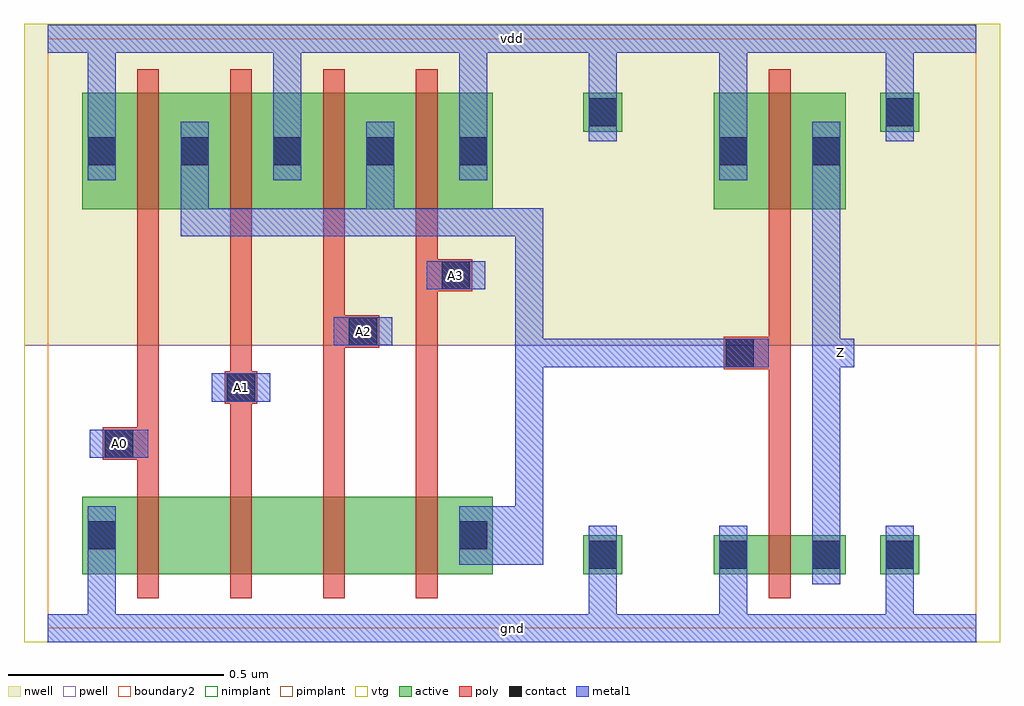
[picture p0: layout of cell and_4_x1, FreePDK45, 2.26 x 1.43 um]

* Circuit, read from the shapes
.subckt and_4_x1 A0 A1 A2 A3 Z gnd vdd
M1 sram_1rw0r0w_8_256_freepdk45_pnand4_0/sram_1rw0r0w_8_256_freepdk45_nmos_m1_w0_180_sm1_dactive_4/A3 A0 gnd gnd nfet w=0.18u l=0.05u
M2 sram_1rw0r0w_8_256_freepdk45_pnand4_0/sram_1rw0r0w_8_256_freepdk45_nmos_m1_w0_180_sactive_dactive_5/A3 A1 sram_1rw0r0w_8_256_freepdk45_pnand4_0/sram_1rw0r0w_8_256_freepdk45_nmos_m1_w0_180_sm1_dactive_4/A3 gnd nfet w=0.18u l=0.05u
M3 sram_1rw0r0w_8_256_freepdk45_pnand4_0/sram_1rw0r0w_8_256_freepdk45_nmos_m1_w0_180_sactive_dactive_6/A3 A2 sram_1rw0r0w_8_256_freepdk45_pnand4_0/sram_1rw0r0w_8_256_freepdk45_nmos_m1_w0_180_sactive_dactive_5/A3 gnd nfet w=0.18u l=0.05u
M4 sram_1rw0r0w_8_256_freepdk45_pinv_1/A0 A3 sram_1rw0r0w_8_256_freepdk45_pnand4_0/sram_1rw0r0w_8_256_freepdk45_nmos_m1_w0_180_sactive_dactive_6/A3 gnd nfet w=0.18u l=0.05u
M5 Z sram_1rw0r0w_8_256_freepdk45_pinv_1/A0 gnd gnd nfet w=0.09u l=0.05u
M6 sram_1rw0r0w_8_256_freepdk45_pinv_1/A0 A0 vdd vdd pfet w=0.27u l=0.05u
M7 vdd A1 sram_1rw0r0w_8_256_freepdk45_pinv_1/A0 vdd pfet w=0.27u l=0.05u
M8 sram_1rw0r0w_8_256_freepdk45_pinv_1/A0 A2 vdd vdd pfet w=0.27u l=0.05u
M9 vdd A3 sram_1rw0r0w_8_256_freepdk45_pinv_1/A0 vdd pfet w=0.27u l=0.05u
M10 Z sram_1rw0r0w_8_256_freepdk45_pinv_1/A0 vdd vdd pfet w=0.27u l=0.05u
.ends

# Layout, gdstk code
import gdstk
lib = gdstk.Library(unit=1e-6, precision=5e-10)
def R(c, l, rs):  # rectangles x0, y0, x1, y1
    for r in rs: c.add(gdstk.rectangle(r[:2], r[2:], *l))
def A(c, l, x, y, w, h, nx, ny, dx, dy):  # array of equal rectangles
    R(c, l, [(x+i*dx, y+j*dy, x+i*dx+w, y+j*dy+h) for i in range(nx) for j in range(ny)])
active = (1, 0)
pwell = (2, 0)
nwell = (3, 0)
nimplant = (4, 0)
pimplant = (5, 0)
vtg = (6, 0)
poly = (9, 0)
contact = (10, 0)
metal1 = (11, 0)
boundary2 = (239, 0)

sram_1rw0r0w_8_256_freep = lib.new_cell('sram_1rw0r0w_8_256_freepdk45_contact_11')
R(sram_1rw0r0w_8_256_freep, active, [(0,0.0225,0.09,0.1125)])
R(sram_1rw0r0w_8_256_freep, nwell, [(-0.055,-0.0325,0.145,0.1675)])
R(sram_1rw0r0w_8_256_freep, pimplant, [(0,0.0225,0.09,0.1125)])
R(sram_1rw0r0w_8_256_freep, contact, [(0.0125,0.035,0.0775,0.1)])
R(sram_1rw0r0w_8_256_freep, metal1, [(0.0125,0,0.0775,0.135)])
R(sram_1rw0r0w_8_256_freep, boundary2, [(-0.055,-0.0325,0.145,0.1675)])

c_sram_1rw0r0w_8_256_freep = lib.new_cell('sram_1rw0r0w_8_256_freepdk45_pmos_m1_w0_270_sm1_dm1')
R(c_sram_1rw0r0w_8_256_freep, active, [(0,0,0.305,0.27)])
R(c_sram_1rw0r0w_8_256_freep, nwell, [(-0.08,-0.08,0.385,0.35)])
R(c_sram_1rw0r0w_8_256_freep, pimplant, [(0,0,0.305,0.27)])
R(c_sram_1rw0r0w_8_256_freep, vtg, [(-0.08,-0.08,0.385,0.35)])
R(c_sram_1rw0r0w_8_256_freep, poly, [(0.1275,-0.055,0.1775,0.325), (0.1275,-0.055,0.1775,0.325)])
R(c_sram_1rw0r0w_8_256_freep, metal1, [(0.0125,0.0675,0.0775,0.2025), (0.2275,0.0675,0.2925,0.2025)])
R(c_sram_1rw0r0w_8_256_freep, boundary2, [(-0.08,-0.08,0.385,0.35)])
c_sram_1rw0r0w_8_256_freep.add(gdstk.Reference(sram_1rw0r0w_8_256_freep, (0,0.0675)))
c_sram_1rw0r0w_8_256_freep.add(gdstk.Reference(sram_1rw0r0w_8_256_freep, (0.215,0.0675)))
c_sram_1rw0r0w_8_256_freep.add(gdstk.Label('G', (0.1525,0.135), layer=9, texttype=0))
c_sram_1rw0r0w_8_256_freep.add(gdstk.Label('S', (0.045,0.135), layer=11, texttype=0))
c_sram_1rw0r0w_8_256_freep.add(gdstk.Label('A3', (0.26,0.135), layer=11, texttype=0))

c_sram_1rw0r0w_8_256_freep_ = lib.new_cell('sram_1rw0r0w_8_256_freepdk45_contact_10')
R(c_sram_1rw0r0w_8_256_freep_, active, [(0,0.0225,0.09,0.1125)])
R(c_sram_1rw0r0w_8_256_freep_, pwell, [(-0.055,-0.0325,0.145,0.1675)])
R(c_sram_1rw0r0w_8_256_freep_, nimplant, [(0,0.0225,0.09,0.1125)])
R(c_sram_1rw0r0w_8_256_freep_, contact, [(0.0125,0.035,0.0775,0.1)])
R(c_sram_1rw0r0w_8_256_freep_, metal1, [(0.0125,0,0.0775,0.135)])
R(c_sram_1rw0r0w_8_256_freep_, boundary2, [(-0.055,-0.0325,0.145,0.1675)])

c_sram_1rw0r0w_8_256_freep__ = lib.new_cell('sram_1rw0r0w_8_256_freepdk45_nmos_m1_w0_180_sm1_dactive')
R(c_sram_1rw0r0w_8_256_freep__, active, [(0,0,0.305,0.18), (0.215,0.045,0.305,0.135)])
R(c_sram_1rw0r0w_8_256_freep__, pwell, [(-0.08,-0.08,0.385,0.26)])
R(c_sram_1rw0r0w_8_256_freep__, nimplant, [(0,0,0.305,0.18)])
R(c_sram_1rw0r0w_8_256_freep__, vtg, [(-0.08,-0.08,0.385,0.26)])
R(c_sram_1rw0r0w_8_256_freep__, poly, [(0.1275,-0.055,0.1775,0.235), (0.1275,-0.055,0.1775,0.235)])
R(c_sram_1rw0r0w_8_256_freep__, metal1, [(0.0125,0.0225,0.0775,0.1575)])
R(c_sram_1rw0r0w_8_256_freep__, boundary2, [(-0.08,-0.08,0.385,0.26)])
c_sram_1rw0r0w_8_256_freep__.add(gdstk.Reference(c_sram_1rw0r0w_8_256_freep_, (0,0.0225)))
c_sram_1rw0r0w_8_256_freep__.add(gdstk.Label('G', (0.1525,0.09), layer=9, texttype=0))
c_sram_1rw0r0w_8_256_freep__.add(gdstk.Label('S', (0.045,0.09), layer=11, texttype=0))
c_sram_1rw0r0w_8_256_freep__.add(gdstk.Label('A3', (0.26,0.09), layer=1, texttype=0))

c_sram_1rw0r0w_8_256_freep___ = lib.new_cell('sram_1rw0r0w_8_256_freepdk45_nmos_m1_w0_180_sactive_dactive')
R(c_sram_1rw0r0w_8_256_freep___, active, [(0,0,0.305,0.18), (0,0.045,0.09,0.135), (0.215,0.045,0.305,0.135)])
R(c_sram_1rw0r0w_8_256_freep___, pwell, [(-0.08,-0.08,0.385,0.26)])
R(c_sram_1rw0r0w_8_256_freep___, nimplant, [(0,0,0.305,0.18)])
R(c_sram_1rw0r0w_8_256_freep___, vtg, [(-0.08,-0.08,0.385,0.26)])
R(c_sram_1rw0r0w_8_256_freep___, poly, [(0.1275,-0.055,0.1775,0.235), (0.1275,-0.055,0.1775,0.235)])
R(c_sram_1rw0r0w_8_256_freep___, boundary2, [(-0.08,-0.08,0.385,0.26)])
c_sram_1rw0r0w_8_256_freep___.add(gdstk.Label('G', (0.1525,0.09), layer=9, texttype=0))
c_sram_1rw0r0w_8_256_freep___.add(gdstk.Label('S', (0.045,0.09), layer=1, texttype=0))
c_sram_1rw0r0w_8_256_freep___.add(gdstk.Label('A3', (0.26,0.09), layer=1, texttype=0))

c_sram_1rw0r0w_8_256_freep____ = lib.new_cell('sram_1rw0r0w_8_256_freepdk45_nmos_m1_w0_180_sactive_dm1')
R(c_sram_1rw0r0w_8_256_freep____, active, [(0,0,0.305,0.18), (0,0.045,0.09,0.135)])
R(c_sram_1rw0r0w_8_256_freep____, pwell, [(-0.08,-0.08,0.385,0.26)])
R(c_sram_1rw0r0w_8_256_freep____, nimplant, [(0,0,0.305,0.18)])
R(c_sram_1rw0r0w_8_256_freep____, vtg, [(-0.08,-0.08,0.385,0.26)])
R(c_sram_1rw0r0w_8_256_freep____, poly, [(0.1275,-0.055,0.1775,0.235), (0.1275,-0.055,0.1775,0.235)])
R(c_sram_1rw0r0w_8_256_freep____, metal1, [(0.2275,0.0225,0.2925,0.1575)])
R(c_sram_1rw0r0w_8_256_freep____, boundary2, [(-0.08,-0.08,0.385,0.26)])
c_sram_1rw0r0w_8_256_freep____.add(gdstk.Reference(c_sram_1rw0r0w_8_256_freep_, (0.215,0.0225)))
c_sram_1rw0r0w_8_256_freep____.add(gdstk.Label('G', (0.1525,0.09), layer=9, texttype=0))
c_sram_1rw0r0w_8_256_freep____.add(gdstk.Label('S', (0.045,0.09), layer=1, texttype=0))
c_sram_1rw0r0w_8_256_freep____.add(gdstk.Label('A3', (0.26,0.09), layer=11, texttype=0))

c_sram_1rw0r0w_8_256_freep_____ = lib.new_cell('sram_1rw0r0w_8_256_freepdk45_contact_12')
R(c_sram_1rw0r0w_8_256_freep_____, active, [(0,0.0225,0.09,0.1125)])
R(c_sram_1rw0r0w_8_256_freep_____, nwell, [(-0.055,-0.0325,0.145,0.1675)])
R(c_sram_1rw0r0w_8_256_freep_____, nimplant, [(0,0.0225,0.09,0.1125)])
R(c_sram_1rw0r0w_8_256_freep_____, contact, [(0.0125,0.035,0.0775,0.1)])
R(c_sram_1rw0r0w_8_256_freep_____, metal1, [(0.0125,0,0.0775,0.135)])
R(c_sram_1rw0r0w_8_256_freep_____, boundary2, [(-0.055,-0.0325,0.145,0.1675)])

c_sram_1rw0r0w_8_256_freep______ = lib.new_cell('sram_1rw0r0w_8_256_freepdk45_contact_13')
R(c_sram_1rw0r0w_8_256_freep______, active, [(0,0.0225,0.09,0.1125)])
R(c_sram_1rw0r0w_8_256_freep______, pwell, [(-0.055,-0.0325,0.145,0.1675)])
R(c_sram_1rw0r0w_8_256_freep______, pimplant, [(0,0.0225,0.09,0.1125)])
R(c_sram_1rw0r0w_8_256_freep______, contact, [(0.0125,0.035,0.0775,0.1)])
R(c_sram_1rw0r0w_8_256_freep______, metal1, [(0.0125,0,0.0775,0.135)])
R(c_sram_1rw0r0w_8_256_freep______, boundary2, [(-0.055,-0.0325,0.145,0.1675)])

c_sram_1rw0r0w_8_256_freep_______ = lib.new_cell('sram_1rw0r0w_8_256_freepdk45_contact_14')
R(c_sram_1rw0r0w_8_256_freep_______, poly, [(0.03,0,0.105,0.075)])
R(c_sram_1rw0r0w_8_256_freep_______, contact, [(0.035,0.005,0.1,0.07)])
R(c_sram_1rw0r0w_8_256_freep_______, metal1, [(0,0.005,0.135,0.07)])
R(c_sram_1rw0r0w_8_256_freep_______, boundary2, [(0,0,0.135,0.075)])

c_sram_1rw0r0w_8_256_freep________ = lib.new_cell('sram_1rw0r0w_8_256_freepdk45_pnand4')
R(c_sram_1rw0r0w_8_256_freep________, pwell, [(-0.055,-0.0325,1.5175,0.655)])
R(c_sram_1rw0r0w_8_256_freep________, nwell, [(-0.055,0.655,1.5175,1.4)])
R(c_sram_1rw0r0w_8_256_freep________, vtg, [(-0.055,-0.0325,1.5175,0.655), (-0.055,0.655,1.5175,1.4)])
A(c_sram_1rw0r0w_8_256_freep________, poly, 0.2075, 0.36, 0.05, 0.555, 4, 1, 0.215, 0)
R(c_sram_1rw0r0w_8_256_freep________, poly, [(0.165,0.39,0.2075,0.465), (0.4225,0.52,0.4475,0.595), (0.6375,0.65,0.73,0.725), (0.8525,0.78,0.945,0.855)])
A(c_sram_1rw0r0w_8_256_freep________, metal1, 0.0925, 1.0375, 0.065, 0.36, 3, 1, 0.43, 0)
R(c_sram_1rw0r0w_8_256_freep________, metal1, [(0,-0.0325,1.4625,0.0325), (0.0925,-0.0325,0.1575,0.1475), (1.2525,0,1.3175,0.17), (0.985,0.1475,1.115,0.2825), (1.0825,0.1475,1.1475,0.94), (0.0975,0.395,0.2325,0.46), (0.38,0.525,0.515,0.59), (0.6625,0.655,0.7975,0.72), (0.8775,0.785,1.0125,0.85), (0.3075,0.9075,0.3725,0.9725), (0.34,0.9075,1.115,0.9725), (0.7375,0.9075,0.8025,0.9725), (0.77,0.9075,1.115,0.9725), (1.0825,0.9075,1.1475,0.9725), (0.3075,0.94,0.3725,1.105), (0.7375,0.94,0.8025,1.105), (1.2525,1.195,1.3175,1.365), (0,1.3325,1.4625,1.3975)])
R(c_sram_1rw0r0w_8_256_freep________, boundary2, [(0,0,1.4625,1.365), (0,0,1.4625,1.365)])
c_sram_1rw0r0w_8_256_freep________.add(gdstk.Reference(c_sram_1rw0r0w_8_256_freep, (0.08,0.97)))
c_sram_1rw0r0w_8_256_freep________.add(gdstk.Reference(c_sram_1rw0r0w_8_256_freep, (0.295,0.97)))
c_sram_1rw0r0w_8_256_freep________.add(gdstk.Reference(c_sram_1rw0r0w_8_256_freep, (0.51,0.97)))
c_sram_1rw0r0w_8_256_freep________.add(gdstk.Reference(c_sram_1rw0r0w_8_256_freep, (0.725,0.97)))
c_sram_1rw0r0w_8_256_freep________.add(gdstk.Reference(c_sram_1rw0r0w_8_256_freep__, (0.08,0.125)))
c_sram_1rw0r0w_8_256_freep________.add(gdstk.Reference(c_sram_1rw0r0w_8_256_freep___, (0.295,0.125)))
c_sram_1rw0r0w_8_256_freep________.add(gdstk.Reference(c_sram_1rw0r0w_8_256_freep___, (0.51,0.125)))
c_sram_1rw0r0w_8_256_freep________.add(gdstk.Reference(c_sram_1rw0r0w_8_256_freep____, (0.725,0.125)))
c_sram_1rw0r0w_8_256_freep________.add(gdstk.Reference(c_sram_1rw0r0w_8_256_freep_____, (1.24,1.1275)))
c_sram_1rw0r0w_8_256_freep________.add(gdstk.Reference(c_sram_1rw0r0w_8_256_freep______, (1.24,0.1025)))
c_sram_1rw0r0w_8_256_freep________.add(gdstk.Reference(c_sram_1rw0r0w_8_256_freep_______, (0.0975,0.39)))
c_sram_1rw0r0w_8_256_freep________.add(gdstk.Reference(c_sram_1rw0r0w_8_256_freep_______, (0.38,0.52)))
c_sram_1rw0r0w_8_256_freep________.add(gdstk.Reference(c_sram_1rw0r0w_8_256_freep_______, (0.6625,0.65)))
c_sram_1rw0r0w_8_256_freep________.add(gdstk.Reference(c_sram_1rw0r0w_8_256_freep_______, (0.8775,0.78)))
c_sram_1rw0r0w_8_256_freep________.add(gdstk.Label('A0', (0.165,0.4275), layer=11, texttype=0))
c_sram_1rw0r0w_8_256_freep________.add(gdstk.Label('A1', (0.4475,0.5575), layer=11, texttype=0))
c_sram_1rw0r0w_8_256_freep________.add(gdstk.Label('A2', (0.73,0.6875), layer=11, texttype=0))
c_sram_1rw0r0w_8_256_freep________.add(gdstk.Label('A3', (0.945,0.8175), layer=11, texttype=0))
c_sram_1rw0r0w_8_256_freep________.add(gdstk.Label('Z', (1.115,0.94), layer=11, texttype=0))
c_sram_1rw0r0w_8_256_freep________.add(gdstk.Label('gnd', (0.7315,0), layer=11, texttype=0))
c_sram_1rw0r0w_8_256_freep________.add(gdstk.Label('vdd', (0.7315,1.365), layer=11, texttype=0))

c_sram_1rw0r0w_8_256_freep_________ = lib.new_cell('sram_1rw0r0w_8_256_freepdk45_pmos_m1_w0_270_sm1_dm1_da_p')
R(c_sram_1rw0r0w_8_256_freep_________, active, [(0,0,0.305,0.27)])
R(c_sram_1rw0r0w_8_256_freep_________, nwell, [(-0.08,-0.08,0.385,0.35)])
R(c_sram_1rw0r0w_8_256_freep_________, pimplant, [(0,0,0.305,0.27)])
R(c_sram_1rw0r0w_8_256_freep_________, vtg, [(-0.08,-0.08,0.385,0.35)])
R(c_sram_1rw0r0w_8_256_freep_________, poly, [(0.1275,-0.055,0.1775,0.325), (0.1275,-0.055,0.1775,0.325)])
R(c_sram_1rw0r0w_8_256_freep_________, metal1, [(0.0125,0.0675,0.0775,0.2025), (0.2275,0.0675,0.2925,0.2025)])
R(c_sram_1rw0r0w_8_256_freep_________, boundary2, [(-0.08,-0.08,0.385,0.35)])
c_sram_1rw0r0w_8_256_freep_________.add(gdstk.Reference(sram_1rw0r0w_8_256_freep, (0,0.0675)))
c_sram_1rw0r0w_8_256_freep_________.add(gdstk.Reference(sram_1rw0r0w_8_256_freep, (0.215,0.0675)))
c_sram_1rw0r0w_8_256_freep_________.add(gdstk.Label('G', (0.1525,0.135), layer=9, texttype=0))
c_sram_1rw0r0w_8_256_freep_________.add(gdstk.Label('S', (0.045,0.135), layer=11, texttype=0))
c_sram_1rw0r0w_8_256_freep_________.add(gdstk.Label('A3', (0.26,0.135), layer=11, texttype=0))

c_sram_1rw0r0w_8_256_freep__________ = lib.new_cell('sram_1rw0r0w_8_256_freepdk45_nmos_m1_w0_090_sm1_dm1_da_p')
R(c_sram_1rw0r0w_8_256_freep__________, active, [(0,0,0.305,0.09)])
R(c_sram_1rw0r0w_8_256_freep__________, pwell, [(-0.08,-0.08,0.385,0.17)])
R(c_sram_1rw0r0w_8_256_freep__________, nimplant, [(0,0,0.305,0.09)])
R(c_sram_1rw0r0w_8_256_freep__________, vtg, [(-0.08,-0.08,0.385,0.17)])
R(c_sram_1rw0r0w_8_256_freep__________, poly, [(0.1275,-0.055,0.1775,0.145), (0.1275,-0.055,0.1775,0.145)])
R(c_sram_1rw0r0w_8_256_freep__________, metal1, [(0.0125,-0.0225,0.0775,0.1125), (0.2275,-0.0225,0.2925,0.1125)])
R(c_sram_1rw0r0w_8_256_freep__________, boundary2, [(-0.08,-0.08,0.385,0.17)])
c_sram_1rw0r0w_8_256_freep__________.add(gdstk.Reference(c_sram_1rw0r0w_8_256_freep_, (0,-0.0225)))
c_sram_1rw0r0w_8_256_freep__________.add(gdstk.Reference(c_sram_1rw0r0w_8_256_freep_, (0.215,-0.0225)))
c_sram_1rw0r0w_8_256_freep__________.add(gdstk.Label('G', (0.1525,0.045), layer=9, texttype=0))
c_sram_1rw0r0w_8_256_freep__________.add(gdstk.Label('S', (0.045,0.045), layer=11, texttype=0))
c_sram_1rw0r0w_8_256_freep__________.add(gdstk.Label('A3', (0.26,0.045), layer=11, texttype=0))

c_sram_1rw0r0w_8_256_freep___________ = lib.new_cell('sram_1rw0r0w_8_256_freepdk45_pinv')
R(c_sram_1rw0r0w_8_256_freep___________, pwell, [(-0.055,-0.0325,0.7425,0.655)])
R(c_sram_1rw0r0w_8_256_freep___________, nwell, [(-0.055,0.655,0.7425,1.4)])
R(c_sram_1rw0r0w_8_256_freep___________, vtg, [(-0.055,-0.0325,0.7425,0.655), (-0.055,0.655,0.7425,1.4)])
R(c_sram_1rw0r0w_8_256_freep___________, poly, [(0.2075,0.27,0.2575,0.915), (0.14,0.6,0.2075,0.675)])
R(c_sram_1rw0r0w_8_256_freep___________, metal1, [(0,-0.0325,0.6875,0.0325), (0.0925,-0.0325,0.1575,0.1025), (0.4775,0,0.5425,0.17), (0.3075,0.1025,0.3725,1.1725), (0.0725,0.605,0.2075,0.67), (0.34,0.605,0.405,0.67), (0.0925,1.0375,0.1575,1.3975), (0.4775,1.195,0.5425,1.365), (0,1.3325,0.6875,1.3975)])
R(c_sram_1rw0r0w_8_256_freep___________, boundary2, [(0,0,0.6875,1.365), (0,0,0.6875,1.365)])
c_sram_1rw0r0w_8_256_freep___________.add(gdstk.Reference(c_sram_1rw0r0w_8_256_freep_________, (0.08,0.97)))
c_sram_1rw0r0w_8_256_freep___________.add(gdstk.Reference(c_sram_1rw0r0w_8_256_freep__________, (0.08,0.125)))
c_sram_1rw0r0w_8_256_freep___________.add(gdstk.Reference(c_sram_1rw0r0w_8_256_freep_____, (0.465,1.1275)))
c_sram_1rw0r0w_8_256_freep___________.add(gdstk.Reference(c_sram_1rw0r0w_8_256_freep______, (0.465,0.1025)))
c_sram_1rw0r0w_8_256_freep___________.add(gdstk.Reference(c_sram_1rw0r0w_8_256_freep_______, (0.0725,0.6)))
c_sram_1rw0r0w_8_256_freep___________.add(gdstk.Label('A0', (0.14,0.6375), layer=11, texttype=0))
c_sram_1rw0r0w_8_256_freep___________.add(gdstk.Label('Z', (0.3725,0.6375), layer=11, texttype=0))
c_sram_1rw0r0w_8_256_freep___________.add(gdstk.Label('gnd', (0.344,0), layer=11, texttype=0))
c_sram_1rw0r0w_8_256_freep___________.add(gdstk.Label('vdd', (0.344,1.365), layer=11, texttype=0))

and_4_x1 = lib.new_cell('and_4_x1')
R(and_4_x1, metal1, [(0,-0.0325,2.15,0.0325), (0.0975,0.395,0.2325,0.46), (0.38,0.525,0.515,0.59), (1.0825,0.605,1.1475,0.67), (1.115,0.605,1.6025,0.67), (1.8025,0.605,1.8675,0.67), (1.0825,0.6375,1.1475,0.94), (0.6625,0.655,0.7975,0.72), (0.8775,0.785,1.0125,0.85), (0,1.3325,2.15,1.3975)])
R(and_4_x1, boundary2, [(0,0,2.15,1.365)])
and_4_x1.add(gdstk.Reference(c_sram_1rw0r0w_8_256_freep________, (0,0)))
and_4_x1.add(gdstk.Reference(c_sram_1rw0r0w_8_256_freep___________, (1.4625,0)))
and_4_x1.add(gdstk.Label('Z', (1.835,0.6375), layer=11, texttype=0))
and_4_x1.add(gdstk.Label('A0', (0.165,0.4275), layer=11, texttype=0))
and_4_x1.add(gdstk.Label('A1', (0.4475,0.5575), layer=11, texttype=0))
and_4_x1.add(gdstk.Label('A2', (0.73,0.6875), layer=11, texttype=0))
and_4_x1.add(gdstk.Label('A3', (0.945,0.8175), layer=11, texttype=0))
and_4_x1.add(gdstk.Label('gnd', (1.075,0), layer=11, texttype=0))
and_4_x1.add(gdstk.Label('vdd', (1.075,1.365), layer=11, texttype=0))

lib.write_gds('and_4_x1.gds')
